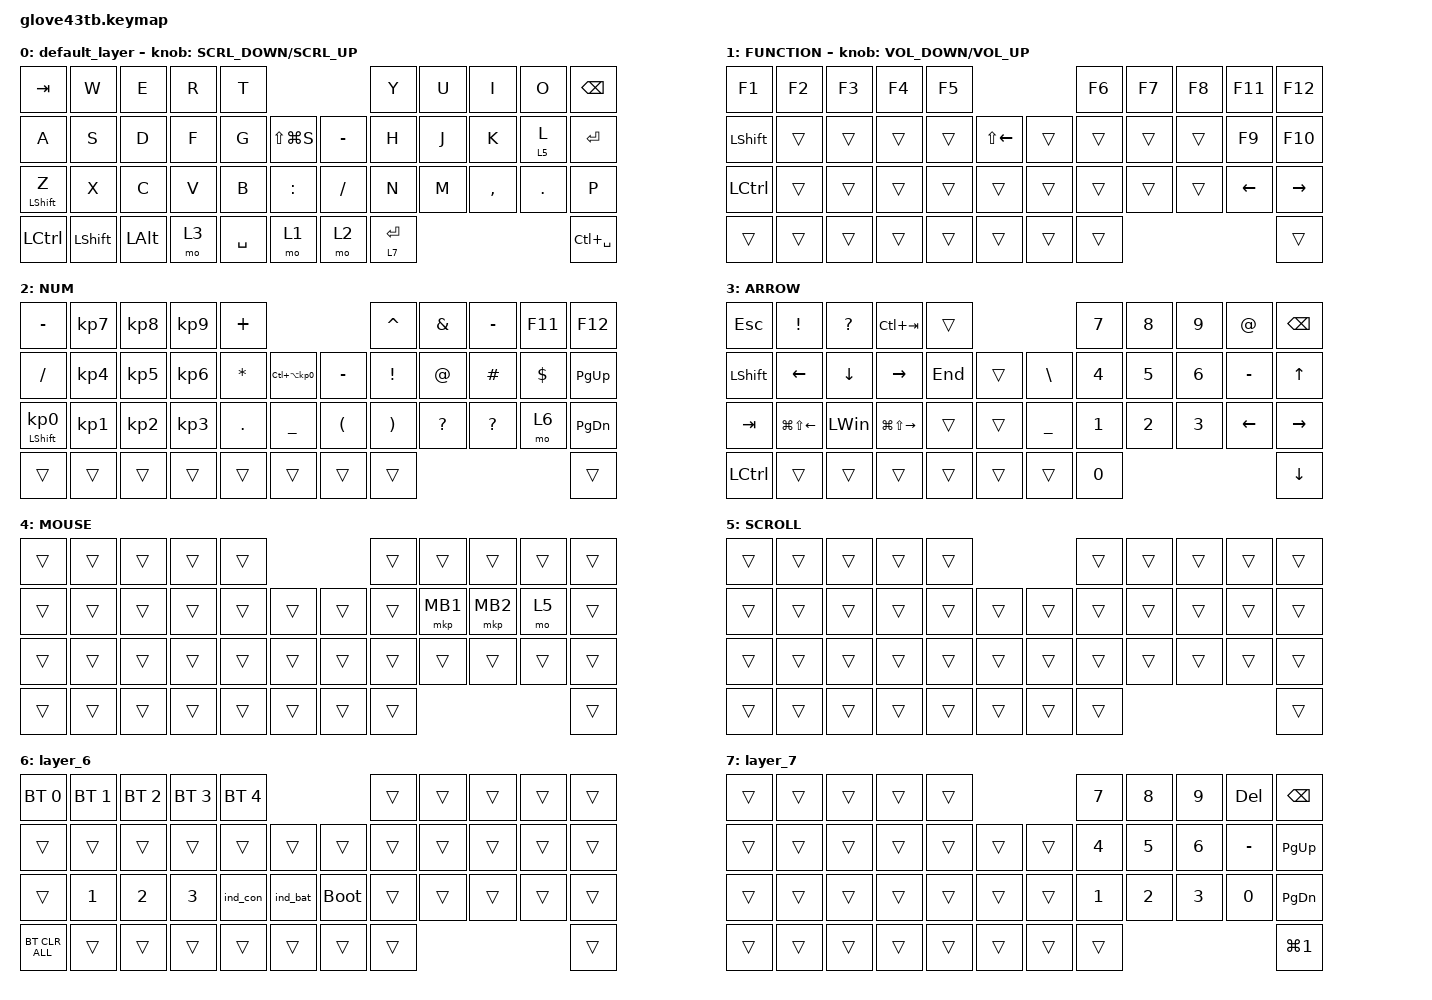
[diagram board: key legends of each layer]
#define ZMK_POINTING_DEFAULT_SCRL_VAL 150

#include <behaviors/rgbled_widget.dtsi>
#include <dt-bindings/zmk/input_transform.h>
#include <input/processors.dtsi>
#include <zephyr/dt-bindings/input/input-event-codes.h>
#include <behaviors.dtsi>
#include <dt-bindings/zmk/bt.h>
#include <dt-bindings/zmk/keys.h>
#include <dt-bindings/zmk/pointing.h>

&mt {
    flavor = "balanced";
    quick-tap-ms = <0>;
};

&mmv {
    delay-ms = <20>;
    trigger-period-ms = <5>;
    time-to-max-speed-ms = <100>;
    acceleration-exponent = <2>;
};

&msc {
    delay-ms = <3>;
    trigger-period-ms = <3>;
    time-to-max-speed-ms = <100>;
    acceleration-exponent = <0>;
};

/ {
    input_processors {
        zip_wheel_scaler: zip_wheel_scaler {
            compatible = "zmk,input-processor-scaler";
            #input-processor-cells = <2>;
            type = <INPUT_EV_REL>;
            codes = <INPUT_REL_WHEEL>;
            track-remainders;
        };
    };
};

/ {
    combos {
        compatible = "zmk,combos";

        Lcrick {
            bindings = <&mkp MB1>;
            key-positions = <18 19>;
        };

        rCrick {
            bindings = <&mkp MB2>;
            key-positions = <19 20>;
        };

        space {
            bindings = <&kp SPACE>;
            key-positions = <11 10>;
        };

        F1combo {
            bindings = <&kp F1>;
            key-positions = <12 14>;
        };

        F2combo {
            bindings = <&kp F2>;
            key-positions = <12 26>;
        };

        Pcombo {
            bindings = <&kp P>;
            key-positions = <8 21>;
        };

        Qcombo {
            bindings = <&kp Q>;
            key-positions = <1 10>;
        };
    };

    macros {
        to_layer_0: to_layer_0 {
            compatible = "zmk,behavior-macro-one-param";
            #binding-cells = <1>;
            bindings = <&to 0 &macro_param_1to1 &kp MACRO_PLACEHOLDER>;
            label = "TO_LAYER_0";
        };
    };

    behaviors {
        lt_to_layer_0: lt_to_layer_0 {
            compatible = "zmk,behavior-hold-tap";
            label = "LAYER_TAP_TO_0";
            bindings = <&mo>, <&to_layer_0>;

            #binding-cells = <2>;
            tapping-term-ms = <200>;
        };

        sensor_rotate_kp: sensor_rotate_kp {
            compatible = "zmk,behavior-sensor-rotate-var";
            #sensor-binding-cells = <2>;
            bindings = <&kp>, <&kp>;
        };

        mouse_wheel_scroll: mouse_wheel_scroll {
            compatible = "zmk,behavior-sensor-rotate-var";
            #sensor-binding-cells = <2>;
            bindings = <&msc>, <&msc>;

            tap-ms = <20>;
        };
    };

    keymap {
        compatible = "zmk,keymap";

        default_layer {
            bindings = <
&kp TAB           &kp W           &kp E         &kp R  &kp T                                    &kp Y        &kp U  &kp I      &kp O    &kp BACKSPACE
&kp A             &kp S           &kp D         &kp F  &kp G      &kp LS(LG(S))      &kp MINUS  &kp H        &kp J  &kp K      &lt 5 L  &kp ENTER
&mt LEFT_SHIFT Z  &kp X           &kp C         &kp V  &kp B      &kp COLON          &kp SLASH  &kp N        &kp M  &kp COMMA  &kp DOT  &kp P
&kp LCTRL         &kp LEFT_SHIFT  &kp LEFT_ALT  &mo 3  &kp SPACE  &mo 1              &mo 2      &lt 7 ENTER                             &kp LC(SPACE)
            >;

            sensor-bindings = <&mouse_wheel_scroll SCRL_DOWN SCRL_UP>;
        };

        FUNCTION {
            bindings = <
&kp F1          &kp F2  &kp F3  &kp F4  &kp F5                                  &kp F6  &kp F7  &kp F8  &kp F11         &kp F12
&kp LEFT_SHIFT  &trans  &trans  &trans  &trans  &kp LS(LEFT_ARROW)      &trans  &trans  &trans  &trans  &kp F9          &kp F10
&kp LCTRL       &trans  &trans  &trans  &trans  &trans                  &trans  &trans  &trans  &trans  &kp LEFT_ARROW  &kp RIGHT
&trans          &trans  &trans  &trans  &trans  &trans                  &trans  &trans                                  &trans
            >;

            sensor-bindings = <&sensor_rotate_kp C_VOLUME_DOWN C_VOLUME_UP>;
        };

        NUM {
            bindings = <
&kp MINUS                   &kp KP_NUMBER_7  &kp KP_NUMBER_8  &kp KP_NUMBER_9  &kp PLUS                                                         &kp CARET              &kp AMPERSAND  &kp MINUS     &kp F11     &kp F12
&kp SLASH                   &kp KP_NUMBER_4  &kp KP_NUMBER_5  &kp KP_NUMBER_6  &kp ASTERISK  &kp LC(LA(KP_NUMBER_0))      &kp MINUS             &kp EXCLAMATION        &kp AT_SIGN    &kp HASH      &kp DOLLAR  &kp PAGE_UP
&mt LEFT_SHIFT KP_NUMBER_0  &kp KP_NUMBER_1  &kp KP_NUMBER_2  &kp KP_NUMBER_3  &kp PERIOD    &kp UNDER                    &kp LEFT_PARENTHESIS  &kp RIGHT_PARENTHESIS  &kp QUESTION   &kp QUESTION  &mo 6       &kp PAGE_DOWN
&trans                      &trans           &trans           &trans           &trans        &trans                       &trans                &trans                                                          &trans
            >;
        };

        ARROW {
            bindings = <
&kp ESCAPE      &kp EXCLAMATION         &kp QUESTION    &kp LC(TAB)              &trans                              &kp N7        &kp N8        &kp N9        &kp AT_SIGN     &kp BACKSPACE
&kp LEFT_SHIFT  &kp LEFT_ARROW          &kp DOWN_ARROW  &kp RIGHT_ARROW          &kp END  &trans      &kp BACKSLASH  &kp NUMBER_4  &kp N5        &kp NUMBER_6  &kp MINUS       &kp UP_ARROW
&kp TAB         &kp LG(LS(LEFT_ARROW))  &kp LEFT_WIN    &kp LG(LS(RIGHT_ARROW))  &trans   &trans      &kp UNDER      &kp NUMBER_1  &kp NUMBER_2  &kp NUMBER_3  &kp LEFT_ARROW  &kp RIGHT_ARROW
&kp LCTRL       &trans                  &trans          &trans                   &trans   &trans      &trans         &kp N0                                                    &kp DOWN_ARROW
            >;
        };

        MOUSE {
            bindings = <
&trans  &trans  &trans  &trans  &trans                      &trans  &trans    &trans    &trans  &trans
&trans  &trans  &trans  &trans  &trans  &trans      &trans  &trans  &mkp MB1  &mkp MB2  &mo 5   &trans
&trans  &trans  &trans  &trans  &trans  &trans      &trans  &trans  &trans    &trans    &trans  &trans
&trans  &trans  &trans  &trans  &trans  &trans      &trans  &trans                              &trans
            >;
        };

        SCROLL {
            bindings = <
&trans  &trans  &trans  &trans  &trans                      &trans  &trans  &trans  &trans  &trans
&trans  &trans  &trans  &trans  &trans  &trans      &trans  &trans  &trans  &trans  &trans  &trans
&trans  &trans  &trans  &trans  &trans  &trans      &trans  &trans  &trans  &trans  &trans  &trans
&trans  &trans  &trans  &trans  &trans  &trans      &trans  &trans                          &trans
            >;
        };

        layer_6 {
            bindings = <
&bt BT_SEL 0    &bt BT_SEL 1  &bt BT_SEL 2  &bt BT_SEL 3  &bt BT_SEL 4                             &trans  &trans  &trans  &trans  &trans
&trans          &trans        &trans        &trans        &trans        &trans        &trans       &trans  &trans  &trans  &trans  &trans
&trans          &kp NUMBER_1  &kp NUMBER_2  &kp NUMBER_3  &ind_con      &ind_bat      &bootloader  &trans  &trans  &trans  &trans  &trans
&bt BT_CLR_ALL  &trans        &trans        &trans        &trans        &trans        &trans       &trans                          &trans
            >;
        };

        layer_7 {
            bindings = <
&trans  &trans  &trans  &trans  &trans                      &kp N7        &kp N8        &kp N9        &kp DELETE  &kp BACKSPACE
&trans  &trans  &trans  &trans  &trans  &trans      &trans  &kp NUMBER_4  &kp N5        &kp NUMBER_6  &kp MINUS   &kp PAGE_UP
&trans  &trans  &trans  &trans  &trans  &trans      &trans  &kp NUMBER_1  &kp NUMBER_2  &kp NUMBER_3  &kp N0      &kp PAGE_DOWN
&trans  &trans  &trans  &trans  &trans  &trans      &trans  &trans                                                &kp LG(NUMBER_1)
            >;
        };
    };
};
